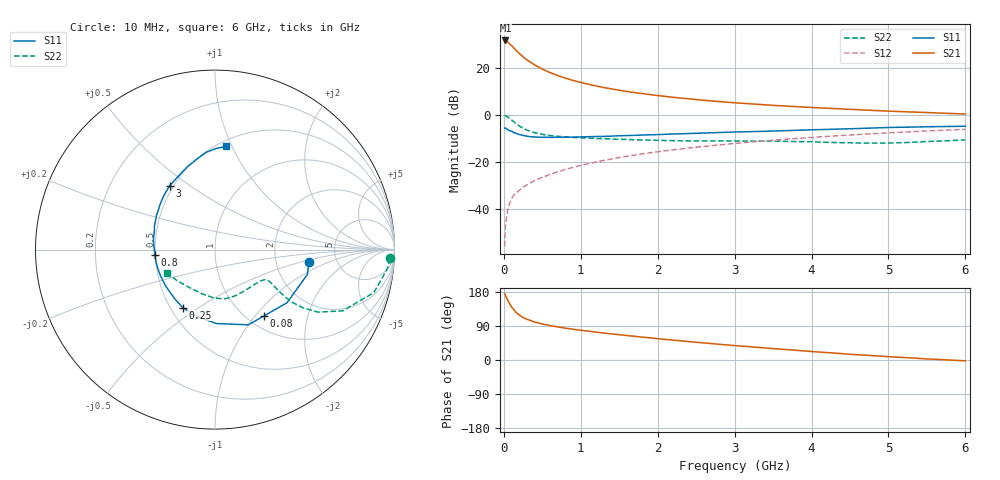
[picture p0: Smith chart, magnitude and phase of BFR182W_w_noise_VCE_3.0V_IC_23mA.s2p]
! (c) 2017  Infineon Technologies AG, Munich
! Infineon Technologies  Discrete & RF Semiconductors
! BFR182W
! VCE =  3.0 V,  IC =  23 mA
! Common Emitter S-Parameters:  Jan 2017
# GHz  S  MA  R  50
!  f  S11  S21  S12  S22
! GHz  MAG  ANG  MAG  ANG  MAG  ANG  MAG  ANG
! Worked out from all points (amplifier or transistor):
!   77 points, 10 MHz to 6 GHz, reference 50 ohm
!   highest |S21| = 31.8 dB at 20 MHz (marker M1)
!   |S21| within 3 dB of that: start of sweep to 124.2 MHz
!   unconditionally stable (mu >= 1): 701.5 MHz to 2.327 GHz
!   at 130 MHz: K = 0.46, MSG = 31.4 dB, |S12| = -34.2 dB
!   at 2.2 GHz: K = 1.01, MAG = 10.7 dB, |S12| = -14.8 dB
!   at 6 GHz: K = 0.87, MSG = 3.3 dB, |S12| = -6.1 dB
!   lowest NFmin = 1.50 dB at 450 MHz
!   S11 on the Smith chart (normalised r, x): 10 MHz: 3.11, -0.59; 80 MHz: 1.18, -1.11; 250 MHz: 0.58, -0.43; 800 MHz: 0.50, -0.03; 3 GHz: 0.48, +0.42; 6 GHz: 0.55, +0.95
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0.01  0.528 -7.5  39.03 175.1  0.0016 80.3  0.9776 -2.9
0.02  0.533 -15.0  39.1 170.6  0.004 93.2  0.9665 -6.3
0.05  0.4988 -36.4  36.4 157.4  0.0092 78.4  0.917 -15.1
0.08  0.4592 -53.7  32.49 147.5  0.0136 72.2  0.8372 -21.0
0.1  0.4585 -66.1  30.53 139.7  0.0166 69.9  0.7897 -25.6
0.15  0.4122 -88.9  24.98 127.3  0.0216 64.8  0.6732 -31.2
0.2  0.3849 -105.9  20.67 118.6  0.0247 64.1  0.5873 -33.5
0.25  0.3699 -119.2  17.5 112.0  0.029 63.9  0.5247 -34.3
0.3  0.3547 -128.9  15.03 107.3  0.0326 64.1  0.4788 -34.1
0.4  0.3419 -143.8  11.75 100.1  0.0402 66.4  0.4222 -33.0
0.5  0.3371 -154.7  9.563 95.0  0.0469 67.3  0.3889 -31.8
0.6  0.3355 -162.8  8.081 90.9  0.0543 69.0  0.3676 -30.9
0.8  0.3368 -175.3  6.152 84.1  0.0695 70.8  0.3429 -30.3
0.9  0.3379 179.9  5.486 81.2  0.0768 70.9  0.3347 -30.5
1.1  0.3463 171.7  4.545 76.1  0.0924 71.1  0.3227 -31.4
1.5  0.3624 158.8  3.391 66.8  0.1243 69.9  0.3045 -35.8
2.1  0.3888 143.4  2.503 54.4  0.1733 66.9  0.2871 -47.0
3  0.436 125.5  1.833 38.0  0.2482 60.3  0.2807 -68.0
3.1  0.4394 123.6  1.786 36.5  0.2567 59.4  0.2796 -70.2
4.1  0.4904 107.3  1.427 21.0  0.3424 50.6  0.2661 -93.6
5.1  0.5479 93.9  1.198 7.7  0.4264 40.5  0.256 -126.7
6  0.5788 83.8  1.055 -2.3  0.4968 31.2  0.2964 -153.9
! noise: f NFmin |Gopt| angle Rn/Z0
0.45  1.5  0.14  -170  0.15
0.9  1.58  0.16  -165  0.16
1.9  2.1  0.31  -139  0.17
2.4  2.38  0.32  -127  0.27
